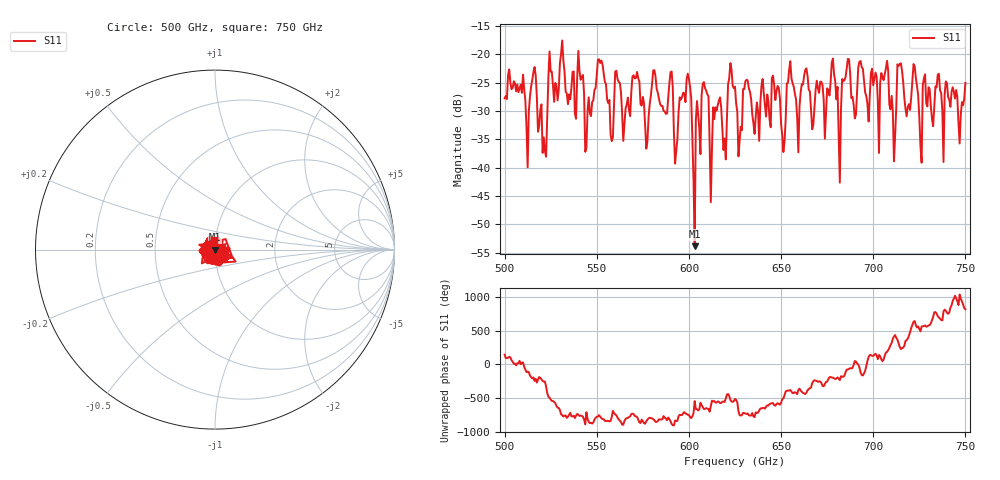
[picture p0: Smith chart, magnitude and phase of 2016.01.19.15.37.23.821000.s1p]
!Created with skrf (http://scikit-rf.org).
# GHz S RI R 50.0
!freq ReS11 ImS11
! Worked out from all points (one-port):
!   401 points, 500 GHz to 750 GHz, reference 50 ohm
!   lowest |S11| = -53.9 dB at 603.1 GHz (marker M1), VSWR 1.00, Z = 49.8 + j0.015 ohm
!   |S11| at or under -10 dB: start of sweep to end of sweep
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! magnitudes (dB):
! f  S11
! 500 GHz  -27.7
! 512.5 GHz  -39.9
! 515.6 GHz  -23.2
! 521.9 GHz  -37.1
! 525 GHz  -23.1
! 531.2 GHz  -17.5
! 545 GHz  -30.0
! 551.9 GHz  -21.5
! 557.5 GHz  -34.2
! 562.5 GHz  -25.0
! 577.5 GHz  -35.3
! 590 GHz  -23.2
! 593.8 GHz  -35.0
! 600 GHz  -24.3
! 603.1 GHz  -53.9
! 608.1 GHz  -24.9
! 612.5 GHz  -36.7
! 625 GHz  -25.7
! 646.2 GHz  -25.4
! 651.2 GHz  -37.2
! 656.2 GHz  -25.1
! 678.1 GHz  -20.7
! 681.2 GHz  -33.8
! 687.5 GHz  -23.5
! 710.6 GHz  -30.0
! 714.4 GHz  -21.7
! 718.8 GHz  -29.3
! 750 GHz  -25.0
